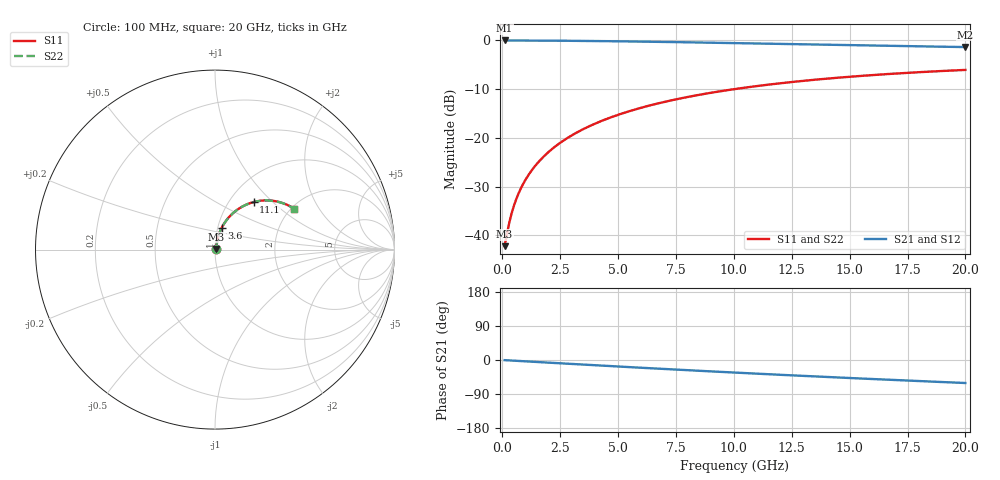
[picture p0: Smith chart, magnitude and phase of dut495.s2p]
! Touchstone file exported from HFSS 2026.1.0
!  File:  C:/ffzhzh/LocalFiles/Ansys_Project_Files/temp_train_TMRDL_495_1783006635_55676.aedt
!  Generated:  11:38:45 PM Jul  2, 2026
!  Design:  TMRDL
!  Project:  temp_train_TMRDL_495_1783006635_55676
! Variables:
!  h_bsmrdl = 2um
!  h_ox = 20um
!  h_rdl = 5um
!  h_sub = 80um
!  h_tmrdl = 3.54um
!  h_tsv = 80um
!  h_via = 3um
!  l_bsmrdl = 300um
!  l_sub = 1373.94um
!  l_tmrdl = 973.94um
!  m_sub = 200um
!  pitch = 35.4um
!  r_tsv = 6um
!  s_tmrdl = 10um
!  w_bsmrdl = 18um
!  w_sub = 500um
!  w_tmrdl = 14.54um
!  x_tsv_center1 = 981.21um
!  x_tsv_center2 = 1299.21um
!  x_tsv_center3 = 2287.69um
!  x_tsv_center4 = 2605.69um
!  x_tsv_center5 = 3594.17um
!  x_tsv_center6 = 3912.17um
# GHz S MA R 50.000000
! Terminal data exported
! Port[1] = TM_RDL1_1_T1
! Port[2] = TM_RDL1_1_T2
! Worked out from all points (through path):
!   200 points, 100 MHz to 20 GHz, reference 50 ohm
!   highest |S21| = -0.06 dB at 100 MHz (marker M1); lowest = -1.4 dB at 20 GHz (marker M2)
!   group delay of S21, straight-line fit = 8.43 ps
!   lowest |S11| = -42.2 dB at 100 MHz (marker M3), VSWR 1.02, Z = 50.7 + j0.389 ohm
!   |S11| at or under -10 dB: start of sweep to 10.07 GHz
!   |S22| runs from -42.2 to -6.1 dB; largest |S21 - S12| = 3.6e-15
!   S11 on the Smith chart (normalised r, x): 100 MHz: 1.01, +0.01; 3.6 GHz: 1.04, +0.26; 11.1 GHz: 1.29, +0.77; 20 GHz: 2.06, +1.25
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0.1  0.007759 29.6  0.9933 -0.4  0.9933 -0.4  0.007759 29.6
! Gamma 0 0 0 0
! Port Impedance 50 0 50 0
0.3  0.01344 57.0  0.9928 -1.1  0.9928 -1.1  0.01344 57.0
0.4  0.01673 62.6  0.9926 -1.4  0.9926 -1.4  0.01673 62.6
0.5  0.02008 66.2  0.9923 -1.8  0.9923 -1.8  0.02008 66.2
0.6  0.02345 68.7  0.9921 -2.1  0.9921 -2.1  0.02345 68.7
0.8  0.03025 71.9  0.9916 -2.8  0.9916 -2.8  0.03025 71.9
1  0.03709 73.8  0.9912 -3.5  0.9912 -3.5  0.03709 73.8
1.2  0.04397 74.9  0.9908 -4.2  0.9908 -4.2  0.04397 74.9
1.7  0.06124 76.0  0.9895 -6.0  0.9895 -6.0  0.06124 76.0
2.2  0.07851 75.8  0.988 -7.7  0.988 -7.7  0.07851 75.8
2.8  0.09909 74.8  0.9857 -9.7  0.9857 -9.7  0.09909 74.8
3.5  0.1228 73.2  0.9825 -12.1  0.9825 -12.1  0.1228 73.2
3.6  0.1261 73.0  0.982 -12.5  0.982 -12.5  0.1261 73.0
4.3  0.1493 71.1  0.9782 -14.8  0.9782 -14.8  0.1493 71.1
5  0.1719 69.1  0.9738 -17.2  0.9738 -17.2  0.1719 69.0
6.8  0.2272 63.6  0.9608 -23.1  0.9608 -23.1  0.2272 63.6
8.3  0.27 59.1  0.9485 -27.8  0.9485 -27.8  0.27 59.1
10.1  0.3171 53.8  0.9327 -33.4  0.9327 -33.4  0.3171 53.8
11.1  0.3412 50.9  0.9236 -36.4  0.9236 -36.4  0.3412 50.9
13.4  0.3914 44.5  0.9028 -43.1  0.9028 -43.1  0.3914 44.4
16.7  0.4506 35.7  0.8746 -52.1  0.8746 -52.1  0.4506 35.6
20  0.4958 27.4  0.85 -60.7  0.85 -60.7  0.4959 27.3
